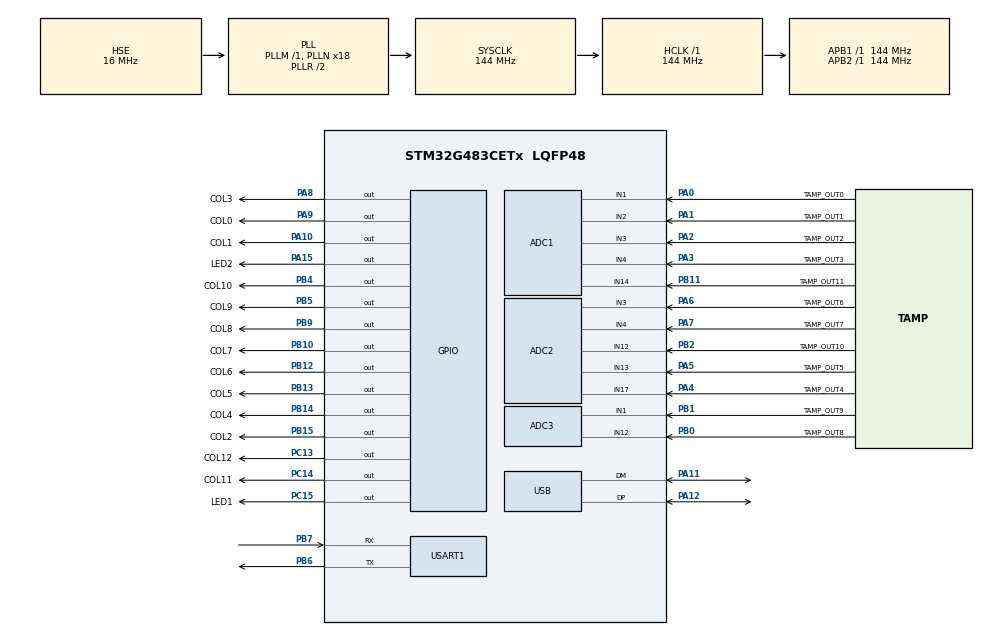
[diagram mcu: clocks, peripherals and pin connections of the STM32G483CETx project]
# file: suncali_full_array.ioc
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ADC1.Channel-0\#ChannelRegularConversion=ADC_CHANNEL_1
ADC1.Channel-1\#ChannelRegularConversion=ADC_CHANNEL_2
ADC1.Channel-2\#ChannelRegularConversion=ADC_CHANNEL_3
ADC1.Channel-3\#ChannelRegularConversion=ADC_CHANNEL_4
ADC1.Channel-4\#ChannelRegularConversion=ADC_CHANNEL_14
ADC1.ClockPrescaler=ADC_CLOCK_ASYNC_DIV6
ADC1.ContinuousConvMode=ENABLE
ADC1.NbrOfConversion=5
ADC1.NbrOfConversionFlag=1
ADC1.OffsetNumber-0\#ChannelRegularConversion=ADC_OFFSET_NONE
ADC1.OffsetNumber-1\#ChannelRegularConversion=ADC_OFFSET_NONE
ADC1.OffsetNumber-2\#ChannelRegularConversion=ADC_OFFSET_NONE
ADC1.OffsetNumber-3\#ChannelRegularConversion=ADC_OFFSET_NONE
ADC1.OffsetNumber-4\#ChannelRegularConversion=ADC_OFFSET_NONE
ADC1.OversamplingMode=ENABLE
ADC1.Rank-0\#ChannelRegularConversion=1
ADC1.Rank-1\#ChannelRegularConversion=2
ADC1.Rank-2\#ChannelRegularConversion=3
ADC1.Rank-3\#ChannelRegularConversion=4
ADC1.Rank-4\#ChannelRegularConversion=5
ADC1.Ratio=ADC_OVERSAMPLING_RATIO_16
ADC1.RightBitShift=ADC_RIGHTBITSHIFT_4
ADC1.SamplingTime-0\#ChannelRegularConversion=ADC_SAMPLETIME_47CYCLES_5
ADC1.SamplingTime-1\#ChannelRegularConversion=ADC_SAMPLETIME_47CYCLES_5
ADC1.SamplingTime-2\#ChannelRegularConversion=ADC_SAMPLETIME_47CYCLES_5
ADC1.SamplingTime-3\#ChannelRegularConversion=ADC_SAMPLETIME_47CYCLES_5
ADC1.SamplingTime-4\#ChannelRegularConversion=ADC_SAMPLETIME_47CYCLES_5
ADC1.master=1
ADC2.Channel-0\#ChannelRegularConversion=ADC_CHANNEL_17
ADC2.Channel-1\#ChannelRegularConversion=ADC_CHANNEL_13
ADC2.Channel-2\#ChannelRegularConversion=ADC_CHANNEL_3
ADC2.Channel-3\#ChannelRegularConversion=ADC_CHANNEL_4
ADC2.Channel-4\#ChannelRegularConversion=ADC_CHANNEL_12
ADC2.ClockPrescaler=ADC_CLOCK_ASYNC_DIV6
ADC2.NbrOfConversion=5
ADC2.NbrOfConversionFlag=1
ADC2.OffsetNumber-0\#ChannelRegularConversion=ADC_OFFSET_NONE
ADC2.OffsetNumber-1\#ChannelRegularConversion=ADC_OFFSET_NONE
ADC2.OffsetNumber-2\#ChannelRegularConversion=ADC_OFFSET_NONE
ADC2.OffsetNumber-3\#ChannelRegularConversion=ADC_OFFSET_NONE
ADC2.OffsetNumber-4\#ChannelRegularConversion=ADC_OFFSET_NONE
ADC2.OversamplingMode=ENABLE
ADC2.Rank-0\#ChannelRegularConversion=1
ADC2.Rank-1\#ChannelRegularConversion=2
ADC2.Rank-2\#ChannelRegularConversion=3
ADC2.Rank-3\#ChannelRegularConversion=4
ADC2.Rank-4\#ChannelRegularConversion=5
ADC2.Ratio=ADC_OVERSAMPLING_RATIO_16
ADC2.RightBitShift=ADC_RIGHTBITSHIFT_4
ADC2.SamplingTime-0\#ChannelRegularConversion=ADC_SAMPLETIME_47CYCLES_5
ADC2.SamplingTime-1\#ChannelRegularConversion=ADC_SAMPLETIME_47CYCLES_5
ADC2.SamplingTime-2\#ChannelRegularConversion=ADC_SAMPLETIME_47CYCLES_5
ADC2.SamplingTime-3\#ChannelRegularConversion=ADC_SAMPLETIME_47CYCLES_5
ADC2.SamplingTime-4\#ChannelRegularConversion=ADC_SAMPLETIME_47CYCLES_5
ADC3.Channel-0\#ChannelRegularConversion=ADC_CHANNEL_12
ADC3.Channel-1\#ChannelRegularConversion=ADC_CHANNEL_1
ADC3.ClockPrescaler=ADC_CLOCK_ASYNC_DIV6
ADC3.NbrOfConversion=2
ADC3.NbrOfConversionFlag=1
ADC3.OffsetNumber-0\#ChannelRegularConversion=ADC_OFFSET_NONE
ADC3.OffsetNumber-1\#ChannelRegularConversion=ADC_OFFSET_NONE
ADC3.OversamplingMode=ENABLE
ADC3.Rank-0\#ChannelRegularConversion=1
ADC3.Rank-1\#ChannelRegularConversion=2
ADC3.Ratio=ADC_OVERSAMPLING_RATIO_16
ADC3.RightBitShift=ADC_RIGHTBITSHIFT_4
ADC3.SamplingTime-0\#ChannelRegularConversion=ADC_SAMPLETIME_47CYCLES_5
ADC3.SamplingTime-1\#ChannelRegularConversion=ADC_SAMPLETIME_47CYCLES_5
ADC3.master=1
Dma.ADC1.0.Direction=DMA_PERIPH_TO_MEMORY
Dma.ADC1.0.EventEnable=DISABLE
Dma.ADC1.0.Instance=DMA1_Channel1
Dma.ADC1.0.MemDataAlignment=DMA_MDATAALIGN_HALFWORD
Dma.ADC1.0.MemInc=DMA_MINC_ENABLE
Dma.ADC1.0.Mode=DMA_NORMAL
Dma.ADC1.0.PeriphDataAlignment=DMA_PDATAALIGN_HALFWORD
Dma.ADC1.0.PeriphInc=DMA_PINC_DISABLE
Dma.ADC1.0.Polarity=HAL_DMAMUX_REQ_GEN_RISING
Dma.ADC1.0.Priority=DMA_PRIORITY_LOW
Dma.ADC1.0.RequestNumber=1
Dma.ADC1.0.SignalID=NONE
Dma.ADC1.0.SyncEnable=DISABLE
Dma.ADC1.0.SyncPolarity=HAL_DMAMUX_SYNC_NO_EVENT
Dma.ADC1.0.SyncRequestNumber=1
Dma.ADC1.0.SyncSignalID=NONE
Dma.ADC2.1.Direction=DMA_PERIPH_TO_MEMORY
Dma.ADC2.1.EventEnable=DISABLE
Dma.ADC2.1.Instance=DMA1_Channel2
Dma.ADC2.1.MemDataAlignment=DMA_MDATAALIGN_HALFWORD
Dma.ADC2.1.MemInc=DMA_MINC_ENABLE
Dma.ADC2.1.Mode=DMA_NORMAL
Dma.ADC2.1.PeriphDataAlignment=DMA_PDATAALIGN_HALFWORD
Dma.ADC2.1.PeriphInc=DMA_PINC_DISABLE
Dma.ADC2.1.Polarity=HAL_DMAMUX_REQ_GEN_RISING
Dma.ADC2.1.Priority=DMA_PRIORITY_LOW
Dma.ADC2.1.RequestNumber=1
Dma.ADC2.1.SignalID=NONE
Dma.ADC2.1.SyncEnable=DISABLE
Dma.ADC2.1.SyncPolarity=HAL_DMAMUX_SYNC_NO_EVENT
Dma.ADC2.1.SyncRequestNumber=1
Dma.ADC2.1.SyncSignalID=NONE
Dma.ADC3.2.Direction=DMA_PERIPH_TO_MEMORY
Dma.ADC3.2.EventEnable=DISABLE
Dma.ADC3.2.Instance=DMA1_Channel3
Dma.ADC3.2.MemDataAlignment=DMA_MDATAALIGN_HALFWORD
Dma.ADC3.2.MemInc=DMA_MINC_ENABLE
Dma.ADC3.2.Mode=DMA_NORMAL
Dma.ADC3.2.PeriphDataAlignment=DMA_PDATAALIGN_HALFWORD
Dma.ADC3.2.PeriphInc=DMA_PINC_DISABLE
Dma.ADC3.2.Polarity=HAL_DMAMUX_REQ_GEN_RISING
Dma.ADC3.2.Priority=DMA_PRIORITY_LOW
Dma.ADC3.2.RequestNumber=1
Dma.ADC3.2.SignalID=NONE
Dma.ADC3.2.SyncEnable=DISABLE
Dma.ADC3.2.SyncPolarity=HAL_DMAMUX_SYNC_NO_EVENT
Dma.ADC3.2.SyncRequestNumber=1
Dma.ADC3.2.SyncSignalID=NONE
Dma.Request0=ADC1
Dma.Request1=ADC2
Dma.Request2=ADC3
Mcu.Family=STM32G4
Mcu.Name=STM32G483CETx
Mcu.Package=LQFP48
NVIC.DMA1_Channel1_IRQn=true\:0\:0\:false\:false\:true\:false\:true\:true
NVIC.DMA1_Channel2_IRQn=true\:0\:0\:false\:false\:true\:false\:true\:true
NVIC.DMA1_Channel3_IRQn=true\:0\:0\:false\:false\:true\:false\:true\:true
NVIC.PriorityGroup=NVIC_PRIORITYGROUP_4
NVIC.TIM1_BRK_TIM15_IRQn=true\:0\:0\:false\:false\:true\:true\:true\:true
NVIC.TIM1_CC_IRQn=true\:0\:0\:false\:false\:true\:true\:true\:true
NVIC.TIM1_TRG_COM_TIM17_IRQn=true\:0\:0\:false\:false\:true\:true\:true\:true
NVIC.TIM1_UP_TIM16_IRQn=true\:0\:0\:false\:false\:true\:true\:true\:true
NVIC.USB_LP_IRQn=true\:0\:0\:false\:false\:true\:false\:true\:true
PA0.GPIO_Label=TAMP_OUT0
PA0.Mode=IN1-Single-Ended
PA0.Signal=ADC1_IN1
PA1.GPIO_Label=TAMP_OUT1
PA1.Mode=IN2-Single-Ended
PA1.Signal=ADC1_IN2
PA10.GPIO_Label=COL1
PA10.Signal=GPIO_Output
PA11.Mode=Device
PA11.Signal=USB_DM
PA12.Mode=Device
PA12.Signal=USB_DP
PA13.Mode=Trace_Asynchronous_SW
PA13.Signal=SYS_JTMS-SWDIO
PA14.Mode=Trace_Asynchronous_SW
PA14.Signal=SYS_JTCK-SWCLK
PA15.GPIO_Label=LED2
PA15.PinState=GPIO_PIN_RESET
PA15.Signal=GPIO_Output
PA2.GPIO_Label=TAMP_OUT2
PA2.Mode=IN3-Single-Ended
PA2.Signal=ADC1_IN3
PA3.GPIO_Label=TAMP_OUT3
PA3.Mode=IN4-Single-Ended
PA3.Signal=ADC1_IN4
PA4.GPIO_Label=TAMP_OUT4
PA4.Mode=IN17-Single-Ended
PA4.Signal=ADC2_IN17
PA5.GPIO_Label=TAMP_OUT5
PA5.Mode=IN13-Single-Ended
PA5.Signal=ADC2_IN13
PA6.GPIO_Label=TAMP_OUT6
PA6.Mode=IN3-Single-Ended
PA6.Signal=ADC2_IN3
PA7.GPIO_Label=TAMP_OUT7
PA7.Mode=IN4-Single-Ended
PA7.Signal=ADC2_IN4
PA8.GPIO_Label=COL3
PA8.Signal=GPIO_Output
PA9.GPIO_Label=COL0
PA9.Signal=GPIO_Output
PB0.GPIO_Label=TAMP_OUT8
PB0.Mode=IN12-Single-Ended
PB0.Signal=ADC3_IN12
PB1.GPIO_Label=TAMP_OUT9
PB1.Mode=IN1-Single-Ended
PB1.Signal=ADC3_IN1
PB10.GPIO_Label=COL7
PB10.Signal=GPIO_Output
PB11.GPIO_Label=TAMP_OUT11
PB11.Mode=IN14-Single-Ended
PB11.Signal=ADC1_IN14
PB12.GPIO_Label=COL6
PB12.Signal=GPIO_Output
PB13.GPIO_Label=COL5
PB13.Signal=GPIO_Output
PB14.GPIO_Label=COL4
PB14.Signal=GPIO_Output
PB15.GPIO_Label=COL2
PB15.Signal=GPIO_Output
PB2.GPIO_Label=TAMP_OUT10
PB2.Mode=IN12-Single-Ended
PB2.Signal=ADC2_IN12
PB3.Mode=Trace_Asynchronous_SW
PB3.Signal=SYS_JTDO-SWO
PB4.GPIO_Label=COL10
PB4.Signal=GPIO_Output
PB5.GPIO_Label=COL9
PB5.Signal=GPIO_Output
PB6.GPIO_FM6=SYSCFG_FASTMODEPLUS_PB6
PB6.Mode=Asynchronous
PB6.Signal=USART1_TX
PB7.GPIO_FM7=SYSCFG_FASTMODEPLUS_PB7
PB7.Mode=Asynchronous
PB7.Signal=USART1_RX
PB9.GPIO_Label=COL8
PB9.Signal=GPIO_Output
PC13.GPIO_Label=COL12
PC13.Signal=GPIO_Output
PC14-OSC32_IN.GPIO_Label=COL11
PC14-OSC32_IN.Signal=GPIO_Output
PC15-OSC32_OUT.GPIO_Label=LED1
PC15-OSC32_OUT.Signal=GPIO_Output
PF0-OSC_IN.Mode=HSE-External-Oscillator
PF0-OSC_IN.Signal=RCC_OSC_IN
PF1-OSC_OUT.Mode=HSE-External-Oscillator
PF1-OSC_OUT.Signal=RCC_OSC_OUT
ProjectManager.HeapSize=0x200
ProjectManager.StackSize=0x400
ProjectManager.TargetToolchain=STM32CubeIDE
RCC.ADC12CLockSelection=RCC_ADC12CLKSOURCE_PLL
RCC.ADC12Freq_Value=144000000
RCC.ADC345Freq_Value=144000000
RCC.AHBFreq_Value=144000000
RCC.APB1Freq_Value=144000000
RCC.APB1TimFreq_Value=144000000
RCC.APB2Freq_Value=144000000
RCC.APB2TimFreq_Value=144000000
RCC.CortexFreq_Value=144000000
RCC.EXTERNAL_CLOCK_VALUE=12288000
RCC.HCLKFreq_Value=144000000
RCC.HSE_VALUE=16000000
RCC.HSI48_VALUE=48000000
RCC.HSI_VALUE=16000000
RCC.LSE_VALUE=32768
RCC.PLLN=18
RCC.PLLQ=RCC_PLLQ_DIV6
RCC.PLLSourceVirtual=RCC_PLLSOURCE_HSE
RCC.SYSCLKFreq_VALUE=144000000
RCC.SYSCLKSource=RCC_SYSCLKSOURCE_PLLCLK
RCC.USART1CLockSelection=RCC_USART1CLKSOURCE_SYSCLK
RCC.USBFreq_Value=48000000
RCC.VCOOutputFreq_Value=288000000
TIM1.AutoReloadPreload=TIM_AUTORELOAD_PRELOAD_ENABLE
TIM1.PeriodNoDither=1000-1
TIM1.Prescaler=14400-1
USART1.VirtualMode-Asynchronous=VM_ASYNC
USB_DEVICE.CLASS_NAME_FS=CDC
USB_DEVICE.VirtualMode=Cdc
USB_DEVICE.VirtualModeFS=Cdc_FS
VP_SYS_VS_DBSignals.Mode=DisableDeadBatterySignals
VP_TIM1_VS_ClockSourceINT.Mode=Internal
VP_USB_DEVICE_VS_USB_DEVICE_CDC_FS.Mode=CDC_FS
board=custom

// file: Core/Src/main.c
/* USER CODE BEGIN Header */
/**
  ******************************************************************************
  * @file           : main.c
  * @brief          : Main program body
  ******************************************************************************
  * @attention
  *
  * Copyright (c) 2024 STMicroelectronics.
  * All rights reserved.
  *
  * This software is licensed under terms that can be found in the LICENSE file
  * in the root directory of this software component.
  * If no LICENSE file comes with this software, it is provided AS-IS.
  *
  ******************************************************************************
  */
/* USER CODE END Header */
#include "main.h"
#include "usb_device.h"

/* USER CODE BEGIN Includes */
#include "string.h"
#include "stdio.h"
#include "usbd_cdc_if.h"

/* USER CODE END Includes */

ADC_HandleTypeDef hadc1;
ADC_HandleTypeDef hadc2;
ADC_HandleTypeDef hadc3;
DMA_HandleTypeDef hdma_adc1;
DMA_HandleTypeDef hdma_adc2;
DMA_HandleTypeDef hdma_adc3;

TIM_HandleTypeDef htim1;

UART_HandleTypeDef huart1;

/* USER CODE BEGIN PV */

uint16_t adc_buffer[5];
uint16_t adc_buffer2[5];
uint16_t adc_buffer3[2];

volatile uint8_t flag = 0;
volatile uint8_t flag2 = 0;
volatile uint8_t flag3 = 0;

uint8_t state = 0;

char uart_buffer[93];

volatile uint8_t run_main_loop = 0; // 0 = stop, 1 = start
volatile uint8_t run_offset = 0;

/* USER CODE END PV */

void SystemClock_Config(void);
static void MX_GPIO_Init(void);
static void MX_DMA_Init(void);
static void MX_USART1_UART_Init(void);
static void MX_ADC1_Init(void);
static void MX_TIM1_Init(void);
static void MX_ADC2_Init(void);
static void MX_ADC3_Init(void);

int main(void)
{

  /* MCU Configuration--------------------------------------------------------*/

  /* Reset of all peripherals, Initializes the Flash interface and the Systick. */
  HAL_Init();

  /* Configure the system clock */
  SystemClock_Config();

  /* Initialize all configured peripherals */
  MX_GPIO_Init();
  MX_DMA_Init();
  MX_USART1_UART_Init();
  MX_ADC1_Init();
  MX_TIM1_Init();
  MX_ADC2_Init();
  MX_USB_Device_Init();
  MX_ADC3_Init();
  /* USER CODE BEGIN 2 */

  // Calibrate ADC
  HAL_ADCEx_Calibration_Start(&hadc1, ADC_SINGLE_ENDED);
  HAL_ADCEx_Calibration_Start(&hadc2, ADC_SINGLE_ENDED);
  HAL_ADCEx_Calibration_Start(&hadc3, ADC_SINGLE_ENDED);

  HAL_TIM_Base_Start_IT(&htim1);

  // Set all COL to 0
  HAL_GPIO_WritePin(COL0_GPIO_Port, COL0_Pin, 0);
  HAL_GPIO_WritePin(COL1_GPIO_Port, COL1_Pin, 0);
  HAL_GPIO_WritePin(COL2_GPIO_Port, COL2_Pin, 0);
  HAL_GPIO_WritePin(COL3_GPIO_Port, COL3_Pin, 0);
  HAL_GPIO_WritePin(COL4_GPIO_Port, COL4_Pin, 0);
  HAL_GPIO_WritePin(COL5_GPIO_Port, COL5_Pin, 0);
  HAL_GPIO_WritePin(COL6_GPIO_Port, COL6_Pin, 0);
  HAL_GPIO_WritePin(COL7_GPIO_Port, COL7_Pin, 0);
  HAL_GPIO_WritePin(COL8_GPIO_Port, COL8_Pin, 0);
  HAL_GPIO_WritePin(COL9_GPIO_Port, COL9_Pin, 0);
  HAL_GPIO_WritePin(COL10_GPIO_Port, COL10_Pin, 0);
  HAL_GPIO_WritePin(COL11_GPIO_Port, COL11_Pin, 0);
  HAL_GPIO_WritePin(COL12_GPIO_Port, COL12_Pin, 0);

  HAL_Delay(10);

  /* USER CODE END 2 */

  /* Infinite loop */
  /* USER CODE BEGIN WHILE */
  while (1) {

	  switch (state){
	  case 0:
		  if (run_main_loop == 1){
			  state = 1;
		  }

		  if(run_offset == 1 ){
			  HAL_GPIO_WritePin(COL0_GPIO_Port, COL0_Pin, 0);
			  HAL_GPIO_WritePin(COL12_GPIO_Port, COL12_Pin, 0);
			  HAL_GPIO_WritePin(COL1_GPIO_Port, COL1_Pin, 0);
			  HAL_Delay(2);
			  HAL_ADC_Start_DMA(&hadc1, (uint32_t *)adc_buffer, 5);
			  HAL_ADC_Start_DMA(&hadc2, (uint32_t *)adc_buffer2, 5);
			  HAL_ADC_Start_DMA(&hadc3, (uint32_t *)adc_buffer3, 2);
			  state = 50;
		  }

		  break;

	  case 1: //COL0 start
		  HAL_GPIO_WritePin(COL0_GPIO_Port, COL0_Pin, 1);
		  HAL_GPIO_WritePin(LED2_GPIO_Port, LED2_Pin, 1);
		  HAL_Delay(2);

		  HAL_ADC_Start_DMA(&hadc1, (uint32_t *)adc_buffer, 5);
		  HAL_ADC_Start_DMA(&hadc2, (uint32_t *)adc_buffer2, 5);
		  HAL_ADC_Start_DMA(&hadc3, (uint32_t *)adc_buffer3, 2);
		  state = 2;
		  break;

	  case 2: //COL0 output data
		  if(flag == 1 && flag2 == 1 && flag3 == 1){
			  snprintf(uart_buffer, sizeof(uart_buffer), "COL0: %u, %u, %u, %u, %u, %u, %u, %u, %u, %u, %u, %u \r\n", adc_buffer[0], adc_buffer[1], adc_buffer[2], adc_buffer[3],
					  adc_buffer2[0], adc_buffer2[1], adc_buffer2[2], adc_buffer2[3], adc_buffer3[0], adc_buffer3[1], adc_buffer2[4], adc_buffer[4]);
			  CDC_Transmit_FS((uint8_t *)uart_buffer, strlen(uart_buffer));

			  flag = 0;
			  flag2 = 0;
			  flag3 = 0;

			  HAL_GPIO_WritePin(COL0_GPIO_Port, COL0_Pin, 0);
			  HAL_GPIO_WritePin(LED2_GPIO_Port, LED2_Pin, 0);
			  HAL_Delay(2);
			  state = 3;
		  }
		  break;

	  case 3: //COL1 start
		  HAL_GPIO_WritePin(COL1_GPIO_Port, COL1_Pin, 1);
		  HAL_GPIO_WritePin(LED2_GPIO_Port, LED2_Pin, 1);
		  HAL_Delay(2);

		  HAL_ADC_Start_DMA(&hadc1, (uint32_t *)adc_buffer, 5);
		  HAL_ADC_Start_DMA(&hadc2, (uint32_t *)adc_buffer2, 5);
		  HAL_ADC_Start_DMA(&hadc3, (uint32_t *)adc_buffer3, 2);
		  state = 4;
		  break;

	  case 4: //COL1 output data
		  if(flag == 1 && flag2 == 1 && flag3 == 1){
			  snprintf(uart_buffer, sizeof(uart_buffer), "COL1: %u, %u, %u, %u, %u, %u, %u, %u, %u, %u, %u, %u \r\n", adc_buffer[0], adc_buffer[1], adc_buffer[2], adc_buffer[3],
					  adc_buffer2[0], adc_buffer2[1], adc_buffer2[2], adc_buffer2[3], adc_buffer3[0], adc_buffer3[1], adc_buffer2[4], adc_buffer[4]);
			  CDC_Transmit_FS((uint8_t *)uart_buffer, strlen(uart_buffer));

			  flag = 0;
			  flag2 = 0;
			  flag3 = 0;

			  HAL_GPIO_WritePin(COL1_GPIO_Port, COL1_Pin, 0);
			  HAL_GPIO_WritePin(LED2_GPIO_Port, LED2_Pin, 0);
			  HAL_Delay(2);
			  state = 5;
		  }
		  break;

	  case 5: //COL2 start
		  HAL_GPIO_WritePin(COL2_GPIO_Port, COL2_Pin, 1);
		  HAL_GPIO_WritePin(LED2_GPIO_Port, LED2_Pin, 1);
		  HAL_Delay(2);

		  HAL_ADC_Start_DMA(&hadc1, (uint32_t *)adc_buffer, 5);
		  HAL_ADC_Start_DMA(&hadc2, (uint32_t *)adc_buffer2, 5);
		  HAL_ADC_Start_DMA(&hadc3, (uint32_t *)adc_buffer3, 2);
		  state = 6;
		  break;

	  case 6: //COL2 output data
		  if(flag == 1 && flag2 == 1 && flag3 == 1){
			  snprintf(uart_buffer, sizeof(uart_buffer), "COL2: %u, %u, %u, %u, %u, %u, %u, %u, %u, %u, %u, %u \r\n", adc_buffer[0], adc_buffer[1], adc_buffer[2], adc_buffer[3],
					  adc_buffer2[0], adc_buffer2[1], adc_buffer2[2], adc_buffer2[3], adc_buffer3[0], adc_buffer3[1], adc_buffer2[4], adc_buffer[4]);
			  CDC_Transmit_FS((uint8_t *)uart_buffer, strlen(uart_buffer));

			  flag = 0;
			  flag2 = 0;
			  flag3 = 0;

			  HAL_GPIO_WritePin(COL2_GPIO_Port, COL2_Pin, 0);
			  HAL_GPIO_WritePin(LED2_GPIO_Port, LED2_Pin, 0);
			  HAL_Delay(2);
			  state = 7;
		  }
		  break;

	  case 7: //COL3 start
		  HAL_GPIO_WritePin(COL3_GPIO_Port, COL3_Pin, 1);
		  HAL_GPIO_WritePin(LED2_GPIO_Port, LED2_Pin, 1);
		  HAL_Delay(2);

		  HAL_ADC_Start_DMA(&hadc1, (uint32_t *)adc_buffer, 5);
		  HAL_ADC_Start_DMA(&hadc2, (uint32_t *)adc_buffer2, 5);
		  HAL_ADC_Start_DMA(&hadc3, (uint32_t *)adc_buffer3, 2);
		  state = 8;
		  break;

	  case 8: //COL3 output data
		  if(flag == 1 && flag2 == 1 && flag3 == 1){
			  snprintf(uart_buffer, sizeof(uart_buffer), "COL3: %u, %u, %u, %u, %u, %u, %u, %u, %u, %u, %u, %u \r\n", adc_buffer[0], adc_buffer[1], adc_buffer[2], adc_buffer[3],
					  adc_buffer2[0], adc_buffer2[1], adc_buffer2[2], adc_buffer2[3], adc_buffer3[0], adc_buffer3[1], adc_buffer2[4], adc_buffer[4]);
			  CDC_Transmit_FS((uint8_t *)uart_buffer, strlen(uart_buffer));

			  flag = 0;
			  flag2 = 0;
			  flag3 = 0;

			  HAL_GPIO_WritePin(COL3_GPIO_Port, COL3_Pin, 0);
			  HAL_GPIO_WritePin(LED2_GPIO_Port, LED2_Pin, 0);
			  HAL_Delay(2);
			  state = 9;
		  }
		  break;

	  case 9: //COL4 start
		  HAL_GPIO_WritePin(COL4_GPIO_Port, COL4_Pin, 1);
		  HAL_GPIO_WritePin(LED2_GPIO_Port, LED2_Pin, 1);
		  HAL_Delay(2);

		  HAL_ADC_Start_DMA(&hadc1, (uint32_t *)adc_buffer, 5);
		  HAL_ADC_Start_DMA(&hadc2, (uint32_t *)adc_buffer2, 5);
		  HAL_ADC_Start_DMA(&hadc3, (uint32_t *)adc_buffer3, 2);
		  state = 10;
		  break;

	  case 10: //COL4 output data
		  if(flag == 1 && flag2 == 1 && flag3 == 1){
			  snprintf(uart_buffer, sizeof(uart_buffer), "COL4: %u, %u, %u, %u, %u, %u, %u, %u, %u, %u, %u, %u \r\n", adc_buffer[0], adc_buffer[1], adc_buffer[2], adc_buffer[3],
					  adc_buffer2[0], adc_buffer2[1], adc_buffer2[2], adc_buffer2[3], adc_buffer3[0], adc_buffer3[1], adc_buffer2[4], adc_buffer[4]);
			  CDC_Transmit_FS((uint8_t *)uart_buffer, strlen(uart_buffer));

			  flag = 0;
			  flag2 = 0;
			  flag3 = 0;

			  HAL_GPIO_WritePin(COL4_GPIO_Port, COL4_Pin, 0);
			  HAL_GPIO_WritePin(LED2_GPIO_Port, LED2_Pin, 0);
			  HAL_Delay(2);
			  state = 11;
		  }
		  break;

	  case 11: //COL5 start
		  HAL_GPIO_WritePin(COL5_GPIO_Port, COL5_Pin, 1);
		  HAL_GPIO_WritePin(LED2_GPIO_Port, LED2_Pin, 1);
		  HAL_Delay(2);

		  HAL_ADC_Start_DMA(&hadc1, (uint32_t *)adc_buffer, 5);
		  HAL_ADC_Start_DMA(&hadc2, (uint32_t *)adc_buffer2, 5);
		  HAL_ADC_Start_DMA(&hadc3, (uint32_t *)adc_buffer3, 2);
		  state = 12;
		  break;

	  case 12: //COL5 output data
		  if(flag == 1 && flag2 == 1 && flag3 == 1){
			  snprintf(uart_buffer, sizeof(uart_buffer), "COL5: %u, %u, %u, %u, %u, %u, %u, %u, %u, %u, %u, %u \r\n", adc_buffer[0], adc_buffer[1], adc_buffer[2], adc_buffer[3],
					  adc_buffer2[0], adc_buffer2[1], adc_buffer2[2], adc_buffer2[3], adc_buffer3[0], adc_buffer3[1], adc_buffer2[4], adc_buffer[4]);
			  CDC_Transmit_FS((uint8_t *)uart_buffer, strlen(uart_buffer));

			  flag = 0;
			  flag2 = 0;
			  flag3 = 0;

			  HAL_GPIO_WritePin(COL5_GPIO_Port, COL5_Pin, 0);
			  HAL_GPIO_WritePin(LED2_GPIO_Port, LED2_Pin, 0);
			  HAL_Delay(2);
			  state = 13;
		  }
		  break;

	  case 13: //COL6 start
		  HAL_GPIO_WritePin(COL6_GPIO_Port, COL6_Pin, 1);
		  HAL_GPIO_WritePin(LED2_GPIO_Port, LED2_Pin, 1);
		  HAL_Delay(2);

		  HAL_ADC_Start_DMA(&hadc1, (uint32_t *)adc_buffer, 5);
		  HAL_ADC_Start_DMA(&hadc2, (uint32_t *)adc_buffer2, 5);
		  HAL_ADC_Start_DMA(&hadc3, (uint32_t *)adc_buffer3, 2);
		  state = 14;
		  break;

	  case 14: //COL6 output data
		  if(flag == 1 && flag2 == 1 && flag3 == 1){
			  snprintf(uart_buffer, sizeof(uart_buffer), "COL6: %u, %u, %u, %u, %u, %u, %u, %u, %u, %u, %u, %u \r\n", adc_buffer[0], adc_buffer[1], adc_buffer[2], adc_buffer[3],
					  adc_buffer2[0], adc_buffer2[1], adc_buffer2[2], adc_buffer2[3], adc_buffer3[0], adc_buffer3[1], adc_buffer2[4], adc_buffer[4]);
			  CDC_Transmit_FS((uint8_t *)uart_buffer, strlen(uart_buffer));

			  flag = 0;
			  flag2 = 0;
			  flag3 = 0;

			  HAL_GPIO_WritePin(COL6_GPIO_Port, COL6_Pin, 0);
			  HAL_GPIO_WritePin(LED2_GPIO_Port, LED2_Pin, 0);
			  HAL_Delay(2);
			  state = 15;
		  }
		  break;

	  case 15: //COL7 start
		  HAL_GPIO_WritePin(COL7_GPIO_Port, COL7_Pin, 1);
		  HAL_GPIO_WritePin(LED2_GPIO_Port, LED2_Pin, 1);
		  HAL_Delay(2);

		  HAL_ADC_Start_DMA(&hadc1, (uint32_t *)adc_buffer, 5);
		  HAL_ADC_Start_DMA(&hadc2, (uint32_t *)adc_buffer2, 5);
		  HAL_ADC_Start_DMA(&hadc3, (uint32_t *)adc_buffer3, 2);
		  state = 16;
		  break;

	  case 16: //COL7 output data
		  if(flag == 1 && flag2 == 1 && flag3 == 1){
			  snprintf(uart_buffer, sizeof(uart_buffer), "COL7: %u, %u, %u, %u, %u, %u, %u, %u, %u, %u, %u, %u \r\n", adc_buffer[0], adc_buffer[1], adc_buffer[2], adc_buffer[3],
					  adc_buffer2[0], adc_buffer2[1], adc_buffer2[2], adc_buffer2[3], adc_buffer3[0], adc_buffer3[1], adc_buffer2[4], adc_buffer[4]);
			  CDC_Transmit_FS((uint8_t *)uart_buffer, strlen(uart_buffer));

			  flag = 0;
			  flag2 = 0;
			  flag3 = 0;

			  HAL_GPIO_WritePin(COL7_GPIO_Port, COL7_Pin, 0);
			  HAL_GPIO_WritePin(LED2_GPIO_Port, LED2_Pin, 0);
			  HAL_Delay(2);
			  state = 17;
		  }
		  break;

	  case 17: //COL8 start
		  HAL_GPIO_WritePin(COL8_GPIO_Port, COL8_Pin, 1);
		  HAL_GPIO_WritePin(LED2_GPIO_Port, LED2_Pin, 1);
		  HAL_Delay(2);

		  HAL_ADC_Start_DMA(&hadc1, (uint32_t *)adc_buffer, 5);
		  HAL_ADC_Start_DMA(&hadc2, (uint32_t *)adc_buffer2, 5);
		  HAL_ADC_Start_DMA(&hadc3, (uint32_t *)adc_buffer3, 2);
		  state = 18;
		  break;

	  case 18: //COL8 output data
		  if(flag == 1 && flag2 == 1 && flag3 == 1){
			  snprintf(uart_buffer, sizeof(uart_buffer), "COL8: %u, %u, %u, %u, %u, %u, %u, %u, %u, %u, %u, %u \r\n", adc_buffer[0], adc_buffer[1], adc_buffer[2], adc_buffer[3],
					  adc_buffer2[0], adc_buffer2[1], adc_buffer2[2], adc_buffer2[3], adc_buffer3[0], adc_buffer3[1], adc_buffer2[4], adc_buffer[4]);
			  CDC_Transmit_FS((uint8_t *)uart_buffer, strlen(uart_buffer));

			  flag = 0;
			  flag2 = 0;
			  flag3 = 0;

			  HAL_GPIO_WritePin(COL8_GPIO_Port, COL8_Pin, 0);
			  HAL_GPIO_WritePin(LED2_GPIO_Port, LED2_Pin, 0);
			  HAL_Delay(2);
			  state = 19;
		  }
		  break;

	  case 19: //COL9 start
		  HAL_GPIO_WritePin(COL9_GPIO_Port, COL9_Pin, 1);
		  HAL_GPIO_WritePin(LED2_GPIO_Port, LED2_Pin, 1);
		  HAL_Delay(2);

		  HAL_ADC_Start_DMA(&hadc1, (uint32_t *)adc_buffer, 5);
		  HAL_ADC_Start_DMA(&hadc2, (uint32_t *)adc_buffer2, 5);
		  HAL_ADC_Start_DMA(&hadc3, (uint32_t *)adc_buffer3, 2);
		  state =20;
		  break;

	  case 20: //COL9 output data
		  if(flag == 1 && flag2 == 1 && flag3 == 1){
			  snprintf(uart_buffer, sizeof(uart_buffer), "COL9: %u, %u, %u, %u, %u, %u, %u, %u, %u, %u, %u, %u \r\n", adc_buffer[0], adc_buffer[1], adc_buffer[2], adc_buffer[3],
					  adc_buffer2[0], adc_buffer2[1], adc_buffer2[2], adc_buffer2[3], adc_buffer3[0], adc_buffer3[1], adc_buffer2[4], adc_buffer[4]);
			  CDC_Transmit_FS((uint8_t *)uart_buffer, strlen(uart_buffer));

			  flag = 0;
			  flag2 = 0;
			  flag3 = 0;

			  HAL_GPIO_WritePin(COL9_GPIO_Port, COL9_Pin, 0);
			  HAL_GPIO_WritePin(LED2_GPIO_Port, LED2_Pin, 0);
			  HAL_Delay(2);
			  state = 21;
		  }
		  break;

	  case 21: //COL10 start
		  HAL_GPIO_WritePin(COL10_GPIO_Port, COL10_Pin, 1);
		  HAL_GPIO_WritePin(LED2_GPIO_Port, LED2_Pin, 1);
		  HAL_Delay(2);

		  HAL_ADC_Start_DMA(&hadc1, (uint32_t *)adc_buffer, 5);
		  HAL_ADC_Start_DMA(&hadc2, (uint32_t *)adc_buffer2, 5);
		  HAL_ADC_Start_DMA(&hadc3, (uint32_t *)adc_buffer3, 2);
		  state = 22;
		  break;

	  case 22: //COL10 output data
		  if(flag == 1 && flag2 == 1 && flag3 == 1){
			  snprintf(uart_buffer, sizeof(uart_buffer), "COL10: %u, %u, %u, %u, %u, %u, %u, %u, %u, %u, %u, %u \r\n", adc_buffer[0], adc_buffer[1], adc_buffer[2], adc_buffer[3],
					  adc_buffer2[0], adc_buffer2[1], adc_buffer2[2], adc_buffer2[3], adc_buffer3[0], adc_buffer3[1], adc_buffer2[4], adc_buffer[4]);
			  CDC_Transmit_FS((uint8_t *)uart_buffer, strlen(uart_buffer));

			  flag = 0;
			  flag2 = 0;
			  flag3 = 0;

			  HAL_GPIO_WritePin(COL10_GPIO_Port, COL10_Pin, 0);
			  HAL_GPIO_WritePin(LED2_GPIO_Port, LED2_Pin, 0);
			  HAL_Delay(2);
			  state = 23;
		  }
		  break;

	  case 23: //COL11 start
		  HAL_GPIO_WritePin(COL11_GPIO_Port, COL11_Pin, 1);
		  HAL_GPIO_WritePin(LED2_GPIO_Port, LED2_Pin, 1);
		  HAL_Delay(2);

		  HAL_ADC_Start_DMA(&hadc1, (uint32_t *)adc_buffer, 5);
		  HAL_ADC_Start_DMA(&hadc2, (uint32_t *)adc_buffer2, 5);
		  HAL_ADC_Start_DMA(&hadc3, (uint32_t *)adc_buffer3, 2);
		  state = 24;
		  break;

	  case 24: //COL11 output data
		  if(flag == 1 && flag2 == 1 && flag3 == 1){
			  snprintf(uart_buffer, sizeof(uart_buffer), "COL11: %u, %u, %u, %u, %u, %u, %u, %u, %u, %u, %u, %u \r\n", adc_buffer[0], adc_buffer[1], adc_buffer[2], adc_buffer[3],
					  adc_buffer2[0], adc_buffer2[1], adc_buffer2[2], adc_buffer2[3], adc_buffer3[0], adc_buffer3[1], adc_buffer2[4], adc_buffer[4]);
			  CDC_Transmit_FS((uint8_t *)uart_buffer, strlen(uart_buffer));

			  flag = 0;
			  flag2 = 0;
			  flag3 = 0;

			  HAL_GPIO_WritePin(COL11_GPIO_Port, COL11_Pin, 0);
			  HAL_GPIO_WritePin(LED2_GPIO_Port, LED2_Pin, 0);
			  HAL_Delay(2);
			  state = 25;
		  }
		  break;

	  case 25:
		  if(run_main_loop == 0){
			  CDC_Transmit_FS((uint8_t*)"Main loop stopped\r\n", 19);
		  }
		  state = 0;
		  break;

	  case 50:
		  if(flag == 1 && flag2 == 1){

			  snprintf(uart_buffer, sizeof(uart_buffer), "Offsets: %u, %u, %u, %u, %u\r\n", adc_buffer[0], adc_buffer[1], adc_buffer[2], adc_buffer2[0], adc_buffer2[1]);
			  CDC_Transmit_FS((uint8_t *)uart_buffer, strlen(uart_buffer));

			  flag = 0;
			  flag2 = 0;
			  state = 0;
		  }

		  break;

	  default:
		  state = 0;

	  }

	  HAL_Delay(10);

  }

    /* USER CODE END WHILE */

}

void SystemClock_Config(void)
{
  RCC_OscInitTypeDef RCC_OscInitStruct = {0};
  RCC_ClkInitTypeDef RCC_ClkInitStruct = {0};

  /** Configure the main internal regulator output voltage
  */
  HAL_PWREx_ControlVoltageScaling(PWR_REGULATOR_VOLTAGE_SCALE1);

  /** Initializes the RCC Oscillators according to the specified parameters
  * in the RCC_OscInitTypeDef structure.
  */
  RCC_OscInitStruct.OscillatorType = RCC_OSCILLATORTYPE_HSE;
  RCC_OscInitStruct.HSEState = RCC_HSE_ON;
  RCC_OscInitStruct.PLL.PLLState = RCC_PLL_ON;
  RCC_OscInitStruct.PLL.PLLSource = RCC_PLLSOURCE_HSE;
  RCC_OscInitStruct.PLL.PLLM = RCC_PLLM_DIV1;
  RCC_OscInitStruct.PLL.PLLN = 18;
  RCC_OscInitStruct.PLL.PLLP = RCC_PLLP_DIV2;
  RCC_OscInitStruct.PLL.PLLQ = RCC_PLLQ_DIV6;
  RCC_OscInitStruct.PLL.PLLR = RCC_PLLR_DIV2;
  if (HAL_RCC_OscConfig(&RCC_OscInitStruct) != HAL_OK)
  {
    Error_Handler();
  }

  /** Initializes the CPU, AHB and APB buses clocks
  */
  RCC_ClkInitStruct.ClockType = RCC_CLOCKTYPE_HCLK|RCC_CLOCKTYPE_SYSCLK
                              |RCC_CLOCKTYPE_PCLK1|RCC_CLOCKTYPE_PCLK2;
  RCC_ClkInitStruct.SYSCLKSource = RCC_SYSCLKSOURCE_PLLCLK;
  RCC_ClkInitStruct.AHBCLKDivider = RCC_SYSCLK_DIV1;
  RCC_ClkInitStruct.APB1CLKDivider = RCC_HCLK_DIV1;
  RCC_ClkInitStruct.APB2CLKDivider = RCC_HCLK_DIV1;

  if (HAL_RCC_ClockConfig(&RCC_ClkInitStruct, FLASH_LATENCY_4) != HAL_OK)
  {
    Error_Handler();
  }
}

static void MX_ADC1_Init(void)
{

  ADC_MultiModeTypeDef multimode = {0};
  ADC_ChannelConfTypeDef sConfig = {0};

  /** Common config
  */
  hadc1.Instance = ADC1;
  hadc1.Init.ClockPrescaler = ADC_CLOCK_ASYNC_DIV6;
  hadc1.Init.Resolution = ADC_RESOLUTION_12B;
  hadc1.Init.DataAlign = ADC_DATAALIGN_RIGHT;
  hadc1.Init.GainCompensation = 0;
  hadc1.Init.ScanConvMode = ADC_SCAN_ENABLE;
  hadc1.Init.EOCSelection = ADC_EOC_SINGLE_CONV;
  hadc1.Init.LowPowerAutoWait = DISABLE;
  hadc1.Init.ContinuousConvMode = ENABLE;
  hadc1.Init.NbrOfConversion = 5;
  hadc1.Init.DiscontinuousConvMode = DISABLE;
  hadc1.Init.ExternalTrigConv = ADC_SOFTWARE_START;
  hadc1.Init.ExternalTrigConvEdge = ADC_EXTERNALTRIGCONVEDGE_NONE;
  hadc1.Init.DMAContinuousRequests = DISABLE;
  hadc1.Init.Overrun = ADC_OVR_DATA_PRESERVED;
  hadc1.Init.OversamplingMode = ENABLE;
  hadc1.Init.Oversampling.Ratio = ADC_OVERSAMPLING_RATIO_16;
  hadc1.Init.Oversampling.RightBitShift = ADC_RIGHTBITSHIFT_4;
  hadc1.Init.Oversampling.TriggeredMode = ADC_TRIGGEREDMODE_SINGLE_TRIGGER;
  hadc1.Init.Oversampling.OversamplingStopReset = ADC_REGOVERSAMPLING_CONTINUED_MODE;
  if (HAL_ADC_Init(&hadc1) != HAL_OK)
  {
    Error_Handler();
  }

  /** Configure the ADC multi-mode
  */
  multimode.Mode = ADC_MODE_INDEPENDENT;
  if (HAL_ADCEx_MultiModeConfigChannel(&hadc1, &multimode) != HAL_OK)
  {
    Error_Handler();
  }

  /** Configure Regular Channel
  */
  sConfig.Channel = ADC_CHANNEL_1;
  sConfig.Rank = ADC_REGULAR_RANK_1;
  sConfig.SamplingTime = ADC_SAMPLETIME_47CYCLES_5;
  sConfig.SingleDiff = ADC_SINGLE_ENDED;
  sConfig.OffsetNumber = ADC_OFFSET_NONE;
  sConfig.Offset = 0;
  if (HAL_ADC_ConfigChannel(&hadc1, &sConfig) != HAL_OK)
  {
    Error_Handler();
  }

  /** Configure Regular Channel
  */
  sConfig.Channel = ADC_CHANNEL_2;
  sConfig.Rank = ADC_REGULAR_RANK_2;
  if (HAL_ADC_ConfigChannel(&hadc1, &sConfig) != HAL_OK)
  {
    Error_Handler();
  }

  /** Configure Regular Channel
  */
  sConfig.Channel = ADC_CHANNEL_3;
  sConfig.Rank = ADC_REGULAR_RANK_3;
  if (HAL_ADC_ConfigChannel(&hadc1, &sConfig) != HAL_OK)
  {
    Error_Handler();
  }

  /** Configure Regular Channel
  */
  sConfig.Channel = ADC_CHANNEL_4;
  sConfig.Rank = ADC_REGULAR_RANK_4;
  if (HAL_ADC_ConfigChannel(&hadc1, &sConfig) != HAL_OK)
  {
    Error_Handler();
  }

  /** Configure Regular Channel
  */
  sConfig.Channel = ADC_CHANNEL_14;
  sConfig.Rank = ADC_REGULAR_RANK_5;
  if (HAL_ADC_ConfigChannel(&hadc1, &sConfig) != HAL_OK)
  {
    Error_Handler();
  }

}

static void MX_ADC2_Init(void)
{

  ADC_ChannelConfTypeDef sConfig = {0};

  /** Common config
  */
  hadc2.Instance = ADC2;
  hadc2.Init.ClockPrescaler = ADC_CLOCK_ASYNC_DIV6;
  hadc2.Init.Resolution = ADC_RESOLUTION_12B;
  hadc2.Init.DataAlign = ADC_DATAALIGN_RIGHT;
  hadc2.Init.GainCompensation = 0;
  hadc2.Init.ScanConvMode = ADC_SCAN_ENABLE;
  hadc2.Init.EOCSelection = ADC_EOC_SINGLE_CONV;
  hadc2.Init.LowPowerAutoWait = DISABLE;
  hadc2.Init.ContinuousConvMode = DISABLE;
  hadc2.Init.NbrOfConversion = 5;
  hadc2.Init.DiscontinuousConvMode = DISABLE;
  hadc2.Init.ExternalTrigConv = ADC_SOFTWARE_START;
  hadc2.Init.ExternalTrigConvEdge = ADC_EXTERNALTRIGCONVEDGE_NONE;
  hadc2.Init.DMAContinuousRequests = DISABLE;
  hadc2.Init.Overrun = ADC_OVR_DATA_PRESERVED;
  hadc2.Init.OversamplingMode = ENABLE;
  hadc2.Init.Oversampling.Ratio = ADC_OVERSAMPLING_RATIO_16;
  hadc2.Init.Oversampling.RightBitShift = ADC_RIGHTBITSHIFT_4;
  hadc2.Init.Oversampling.TriggeredMode = ADC_TRIGGEREDMODE_SINGLE_TRIGGER;
  hadc2.Init.Oversampling.OversamplingStopReset = ADC_REGOVERSAMPLING_CONTINUED_MODE;
  if (HAL_ADC_Init(&hadc2) != HAL_OK)
  {
    Error_Handler();
  }

  /** Configure Regular Channel
  */
  sConfig.Channel = ADC_CHANNEL_17;
  sConfig.Rank = ADC_REGULAR_RANK_1;
  sConfig.SamplingTime = ADC_SAMPLETIME_47CYCLES_5;
  sConfig.SingleDiff = ADC_SINGLE_ENDED;
  sConfig.OffsetNumber = ADC_OFFSET_NONE;
  sConfig.Offset = 0;
  if (HAL_ADC_ConfigChannel(&hadc2, &sConfig) != HAL_OK)
  {
    Error_Handler();
  }

  /** Configure Regular Channel
  */
  sConfig.Channel = ADC_CHANNEL_13;
  sConfig.Rank = ADC_REGULAR_RANK_2;
  if (HAL_ADC_ConfigChannel(&hadc2, &sConfig) != HAL_OK)
  {
    Error_Handler();
  }

  /** Configure Regular Channel
  */
  sConfig.Channel = ADC_CHANNEL_3;
  sConfig.Rank = ADC_REGULAR_RANK_3;
  if (HAL_ADC_ConfigChannel(&hadc2, &sConfig) != HAL_OK)
  {
    Error_Handler();
  }

  /** Configure Regular Channel
  */
  sConfig.Channel = ADC_CHANNEL_4;
  sConfig.Rank = ADC_REGULAR_RANK_4;
  if (HAL_ADC_ConfigChannel(&hadc2, &sConfig) != HAL_OK)
  {
    Error_Handler();
  }

  /** Configure Regular Channel
  */
  sConfig.Channel = ADC_CHANNEL_12;
  sConfig.Rank = ADC_REGULAR_RANK_5;
  if (HAL_ADC_ConfigChannel(&hadc2, &sConfig) != HAL_OK)
  {
    Error_Handler();
  }

}

static void MX_ADC3_Init(void)
{

  ADC_MultiModeTypeDef multimode = {0};
  ADC_ChannelConfTypeDef sConfig = {0};

  /** Common config
  */
  hadc3.Instance = ADC3;
  hadc3.Init.ClockPrescaler = ADC_CLOCK_ASYNC_DIV6;
  hadc3.Init.Resolution = ADC_RESOLUTION_12B;
  hadc3.Init.DataAlign = ADC_DATAALIGN_RIGHT;
  hadc3.Init.GainCompensation = 0;
  hadc3.Init.ScanConvMode = ADC_SCAN_ENABLE;
  hadc3.Init.EOCSelection = ADC_EOC_SINGLE_CONV;
  hadc3.Init.LowPowerAutoWait = DISABLE;
  hadc3.Init.ContinuousConvMode = DISABLE;
  hadc3.Init.NbrOfConversion = 2;
  hadc3.Init.DiscontinuousConvMode = DISABLE;
  hadc3.Init.ExternalTrigConv = ADC_SOFTWARE_START;
  hadc3.Init.ExternalTrigConvEdge = ADC_EXTERNALTRIGCONVEDGE_NONE;
  hadc3.Init.DMAContinuousRequests = DISABLE;
  hadc3.Init.Overrun = ADC_OVR_DATA_PRESERVED;
  hadc3.Init.OversamplingMode = ENABLE;
  hadc3.Init.Oversampling.Ratio = ADC_OVERSAMPLING_RATIO_16;
  hadc3.Init.Oversampling.RightBitShift = ADC_RIGHTBITSHIFT_4;
  hadc3.Init.Oversampling.TriggeredMode = ADC_TRIGGEREDMODE_SINGLE_TRIGGER;
  hadc3.Init.Oversampling.OversamplingStopReset = ADC_REGOVERSAMPLING_CONTINUED_MODE;
  if (HAL_ADC_Init(&hadc3) != HAL_OK)
  {
    Error_Handler();
  }

  /** Configure the ADC multi-mode
  */
  multimode.Mode = ADC_MODE_INDEPENDENT;
  if (HAL_ADCEx_MultiModeConfigChannel(&hadc3, &multimode) != HAL_OK)
  {
    Error_Handler();
  }

  /** Configure Regular Channel
  */
  sConfig.Channel = ADC_CHANNEL_12;
  sConfig.Rank = ADC_REGULAR_RANK_1;
  sConfig.SamplingTime = ADC_SAMPLETIME_47CYCLES_5;
  sConfig.SingleDiff = ADC_SINGLE_ENDED;
  sConfig.OffsetNumber = ADC_OFFSET_NONE;
  sConfig.Offset = 0;
  if (HAL_ADC_ConfigChannel(&hadc3, &sConfig) != HAL_OK)
  {
    Error_Handler();
  }

  /** Configure Regular Channel
  */
  sConfig.Channel = ADC_CHANNEL_1;
  sConfig.Rank = ADC_REGULAR_RANK_2;
  if (HAL_ADC_ConfigChannel(&hadc3, &sConfig) != HAL_OK)
  {
    Error_Handler();
  }

}

static void MX_TIM1_Init(void)
{

  TIM_ClockConfigTypeDef sClockSourceConfig = {0};
  TIM_MasterConfigTypeDef sMasterConfig = {0};

  htim1.Instance = TIM1;
  htim1.Init.Prescaler = 14400-1;
  htim1.Init.CounterMode = TIM_COUNTERMODE_UP;
  htim1.Init.Period = 999;
  htim1.Init.ClockDivision = TIM_CLOCKDIVISION_DIV1;
  htim1.Init.RepetitionCounter = 0;
  htim1.Init.AutoReloadPreload = TIM_AUTORELOAD_PRELOAD_ENABLE;
  if (HAL_TIM_Base_Init(&htim1) != HAL_OK)
  {
    Error_Handler();
  }
  sClockSourceConfig.ClockSource = TIM_CLOCKSOURCE_INTERNAL;
  if (HAL_TIM_ConfigClockSource(&htim1, &sClockSourceConfig) != HAL_OK)
  {
    Error_Handler();
  }
  sMasterConfig.MasterOutputTrigger = TIM_TRGO_RESET;
  sMasterConfig.MasterOutputTrigger2 = TIM_TRGO2_RESET;
  sMasterConfig.MasterSlaveMode = TIM_MASTERSLAVEMODE_DISABLE;
  if (HAL_TIMEx_MasterConfigSynchronization(&htim1, &sMasterConfig) != HAL_OK)
  {
    Error_Handler();
  }

}

static void MX_USART1_UART_Init(void)
{

  huart1.Instance = USART1;
  huart1.Init.BaudRate = 115200;
  huart1.Init.WordLength = UART_WORDLENGTH_8B;
  huart1.Init.StopBits = UART_STOPBITS_1;
  huart1.Init.Parity = UART_PARITY_NONE;
  huart1.Init.Mode = UART_MODE_TX_RX;
  huart1.Init.HwFlowCtl = UART_HWCONTROL_NONE;
  huart1.Init.OverSampling = UART_OVERSAMPLING_16;
  huart1.Init.OneBitSampling = UART_ONE_BIT_SAMPLE_DISABLE;
  huart1.Init.ClockPrescaler = UART_PRESCALER_DIV1;
  huart1.AdvancedInit.AdvFeatureInit = UART_ADVFEATURE_NO_INIT;
  if (HAL_UART_Init(&huart1) != HAL_OK)
  {
    Error_Handler();
  }
  if (HAL_UARTEx_SetTxFifoThreshold(&huart1, UART_TXFIFO_THRESHOLD_1_8) != HAL_OK)
  {
    Error_Handler();
  }
  if (HAL_UARTEx_SetRxFifoThreshold(&huart1, UART_RXFIFO_THRESHOLD_1_8) != HAL_OK)
  {
    Error_Handler();
  }
  if (HAL_UARTEx_DisableFifoMode(&huart1) != HAL_OK)
  {
    Error_Handler();
  }

}

static void MX_DMA_Init(void)
{

  /* DMA controller clock enable */
  __HAL_RCC_DMAMUX1_CLK_ENABLE();
  __HAL_RCC_DMA1_CLK_ENABLE();

  /* DMA interrupt init */
  /* DMA1_Channel1_IRQn interrupt configuration */
  HAL_NVIC_SetPriority(DMA1_Channel1_IRQn, 0, 0);
  HAL_NVIC_EnableIRQ(DMA1_Channel1_IRQn);
  /* DMA1_Channel2_IRQn interrupt configuration */
  HAL_NVIC_SetPriority(DMA1_Channel2_IRQn, 0, 0);
  HAL_NVIC_EnableIRQ(DMA1_Channel2_IRQn);
  /* DMA1_Channel3_IRQn interrupt configuration */
  HAL_NVIC_SetPriority(DMA1_Channel3_IRQn, 0, 0);
  HAL_NVIC_EnableIRQ(DMA1_Channel3_IRQn);

}

static void MX_GPIO_Init(void)
{
  GPIO_InitTypeDef GPIO_InitStruct = {0};

  /* GPIO Ports Clock Enable */
  __HAL_RCC_GPIOC_CLK_ENABLE();
  __HAL_RCC_GPIOF_CLK_ENABLE();
  __HAL_RCC_GPIOA_CLK_ENABLE();
  __HAL_RCC_GPIOB_CLK_ENABLE();

  /*Configure GPIO pin Output Level */
  HAL_GPIO_WritePin(GPIOC, COL12_Pin|COL11_Pin|LED1_Pin, GPIO_PIN_RESET);

  /*Configure GPIO pin Output Level */
  HAL_GPIO_WritePin(GPIOB, COL7_Pin|COL6_Pin|COL5_Pin|COL4_Pin
                          |COL2_Pin|COL10_Pin|COL9_Pin|COL8_Pin, GPIO_PIN_RESET);

  /*Configure GPIO pin Output Level */
  HAL_GPIO_WritePin(GPIOA, COL3_Pin|COL0_Pin|COL1_Pin|LED2_Pin, GPIO_PIN_RESET);

  /*Configure GPIO pins : COL12_Pin COL11_Pin LED1_Pin */
  GPIO_InitStruct.Pin = COL12_Pin|COL11_Pin|LED1_Pin;
  GPIO_InitStruct.Mode = GPIO_MODE_OUTPUT_PP;
  GPIO_InitStruct.Pull = GPIO_NOPULL;
  GPIO_InitStruct.Speed = GPIO_SPEED_FREQ_LOW;
  HAL_GPIO_Init(GPIOC, &GPIO_InitStruct);

  /*Configure GPIO pins : COL7_Pin COL6_Pin COL5_Pin COL4_Pin
                           COL2_Pin COL10_Pin COL9_Pin COL8_Pin */
  GPIO_InitStruct.Pin = COL7_Pin|COL6_Pin|COL5_Pin|COL4_Pin
                          |COL2_Pin|COL10_Pin|COL9_Pin|COL8_Pin;
  GPIO_InitStruct.Mode = GPIO_MODE_OUTPUT_PP;
  GPIO_InitStruct.Pull = GPIO_NOPULL;
  GPIO_InitStruct.Speed = GPIO_SPEED_FREQ_LOW;
  HAL_GPIO_Init(GPIOB, &GPIO_InitStruct);

  /*Configure GPIO pins : COL3_Pin COL0_Pin COL1_Pin LED2_Pin */
  GPIO_InitStruct.Pin = COL3_Pin|COL0_Pin|COL1_Pin|LED2_Pin;
  GPIO_InitStruct.Mode = GPIO_MODE_OUTPUT_PP;
  GPIO_InitStruct.Pull = GPIO_NOPULL;
  GPIO_InitStruct.Speed = GPIO_SPEED_FREQ_LOW;
  HAL_GPIO_Init(GPIOA, &GPIO_InitStruct);

}

/* USER CODE BEGIN 4 */

void HAL_TIM_PeriodElapsedCallback(TIM_HandleTypeDef* htim)
{
    if (htim->Instance == TIM1){
    	HAL_GPIO_TogglePin(LED1_GPIO_Port, LED1_Pin);
    }
}

void HAL_ADC_ConvCpltCallback(ADC_HandleTypeDef* hadc)
{
    if (hadc->Instance == ADC1){
    	flag = 1;
    }

    if (hadc->Instance == ADC2){
		flag2 = 1;
	}

    if (hadc->Instance == ADC3){
    		flag3 = 1;
    	}
}

/* USER CODE END 4 */

void Error_Handler(void)
{
  __disable_irq();
  while (1)
  {
  }
}
